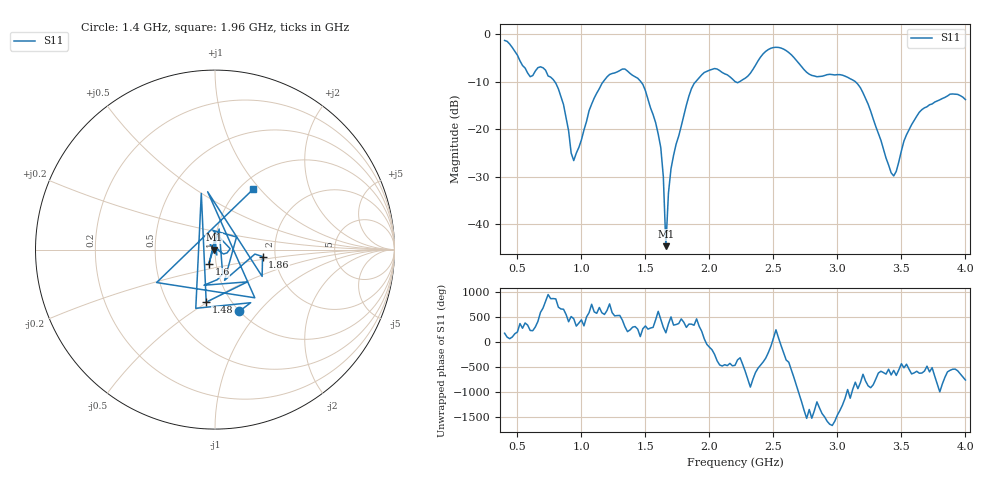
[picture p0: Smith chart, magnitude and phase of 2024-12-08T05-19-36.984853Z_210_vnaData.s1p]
!Created with skrf (http://scikit-rf.org).
# Hz S RI R 50.0
!freq ReS11 ImS11
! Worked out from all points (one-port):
!   181 points, 400 MHz to 4 GHz, reference 50 ohm
!   lowest |S11| = -44.6 dB at 1.66 GHz (marker M1), VSWR 1.01, Z = 49.4 + j0.00662 ohm
!   |S11| at or under -10 dB: 792 MHz to 1.171 GHz (378.5 MHz wide, 38.6 % of centre); 1.465 GHz to 1.893 GHz (428 MHz wide, 25.5 % of centre); 3.141 GHz to end of sweep (the widest 3 of 4)
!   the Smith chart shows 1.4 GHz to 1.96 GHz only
!   S11 on the Smith chart (normalised r, x): 1.4 GHz: 1.00, -0.79; 1.48 GHz: 0.77, -0.49; 1.6 GHz: 0.92, -0.15; 1.86 GHz: 1.71, -0.14; 1.96 GHz: 1.15, +0.91
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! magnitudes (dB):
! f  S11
! 400 MHz  -1.3
! 600 MHz  -8.9
! 720 MHz  -7.6
! 860 MHz  -14.8
! 940 MHz  -26.6
! 1.1 GHz  -13.4
! 1.3 GHz  -7.6
! 1.4 GHz  -8.7
! 1.48 GHz  -10.6
! 1.6 GHz  -21.0
! 1.62 GHz  -23.8
! 1.64 GHz  -29.9
! 1.66 GHz  -44.6
! 1.68 GHz  -33.4
! 1.7 GHz  -28.3
! 1.76 GHz  -21.4
! 1.86 GHz  -11.4
! 1.96 GHz  -8.1
! 2.2 GHz  -10.0
! 2.48 GHz  -3.0
! 2.66 GHz  -4.9
! 2.8 GHz  -8.7
! 3.1 GHz  -9.4
! 3.24 GHz  -14.7
! 3.44 GHz  -29.8
! 3.56 GHz  -20.1
! 3.72 GHz  -14.8
! 4 GHz  -13.7
